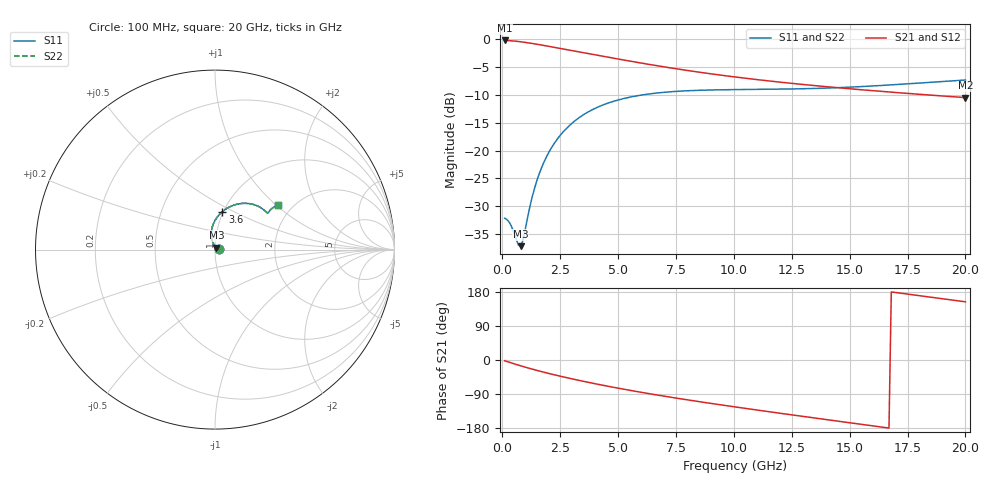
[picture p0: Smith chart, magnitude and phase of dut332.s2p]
! Touchstone file exported from HFSS 2024.1.0
!  File:  C:/UserFiles/LocalFiles/RDL_TSV_Batchsim/temp_RDL_TSV_332_1779632797.aedt
!  Generated:  10:39:08 PM May 24, 2026
!  Design:  RDL_TSV
!  Project:  temp_RDL_TSV_332_1779632797
!  Setup:  Setup1
!  Solution:  Sweep
! Variables:
!  dtsv = 14.09um
!  hbump = 3um
!  htsv = 77.45um
!  ldown = 218.51um
!  lrdl = 495.02um
!  p = 40
!  p1 = 55um
!  rhole = 10um
!  subl = 2635.61um
!  t = 450um
!  tdown = 3.53um
!  trdl = 2.69um
!  viad = 10um
!  wdown = 27.03um
!  wrdl = 11.4um
!  xbump = 18um
# GHz S MA R 50.000000
! Terminal data exported
! Port[1] = TM1_1_T1
! Port[2] = TM1_4_T1
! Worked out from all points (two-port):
!   200 points, 100 MHz to 20 GHz, reference 50 ohm
!   highest |S21| = -0.22 dB at 100 MHz (marker M1); lowest = -10.5 dB at 20 GHz (marker M2)
!   |S21| within 3 dB of the highest: start of sweep to 4.555 GHz
!   lowest |S11| = -37.2 dB at 800 MHz (marker M3), VSWR 1.03, Z = 50.7 + j1.18 ohm
!   |S11| at or under -10 dB: start of sweep to 6.065 GHz
!   |S22| runs from -37.2 to -7.3 dB; largest |S21 - S12| = 3.2e-14
!   S11 on the Smith chart (normalised r, x): 100 MHz: 1.05, +0.00; 3.6 GHz: 0.99, +0.44; 20 GHz: 1.69, +1.03
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0.1  0.02466 1.6  0.9745 -2.0  0.9745 -2.0  0.02466 1.6
! Gamma 0 0 0 0
! Port Impedance 50 0 50 0
0.3  0.02269 4.9  0.9704 -6.0  0.9704 -6.0  0.02269 4.9
0.4  0.02076 7.8  0.9672 -7.9  0.9672 -7.9  0.02076 7.8
0.7  0.01409 36.8  0.9538 -13.6  0.9538 -13.6  0.01408 36.8
0.8  0.01382 56.9  0.9483 -15.4  0.9483 -15.4  0.01382 57.0
0.9  0.01585 76.6  0.9423 -17.3  0.9423 -17.3  0.01585 76.7
1.2  0.03186 103.6  0.9226 -22.5  0.9226 -22.5  0.03189 103.6
1.4  0.04637 107.0  0.9083 -25.9  0.9083 -25.9  0.0464 107.1
1.6  0.06219 106.8  0.8936 -29.2  0.8936 -29.2  0.06224 106.9
1.9  0.08707 103.8  0.8711 -33.9  0.8711 -33.9  0.08715 103.8
2.2  0.1122 99.5  0.8487 -38.4  0.8487 -38.4  0.1123 99.6
2.6  0.1448 93.4  0.8194 -44.1  0.8194 -44.1  0.1449 93.4
3.5  0.2093 80.3  0.7568 -56.2  0.7568 -56.2  0.2096 80.4
3.6  0.2156 79.0  0.7502 -57.5  0.7502 -57.5  0.2158 79.0
5  0.2844 63.2  0.6639 -74.3  0.6639 -74.3  0.2847 63.2
6.8  0.3305 49.4  0.5726 -93.5  0.5726 -93.5  0.3309 49.4
8.4  0.347 41.7  0.5091 -109.0  0.5091 -109.0  0.3475 41.8
10.1  0.3527 37.1  0.4565 -124.3  0.4565 -124.3  0.3532 37.1
11.7  0.3552 35.2  0.4176 -138.0  0.4176 -138.0  0.3557 35.2
13.4  0.3606 34.8  0.3845 -152.3  0.3845 -152.3  0.3611 34.9
16.7  0.3877 35.8  0.3357 -179.6  0.3357 -179.6  0.3882 35.8
20  0.4299 35.2  0.2988 153.6  0.2988 153.6  0.4305 35.2
